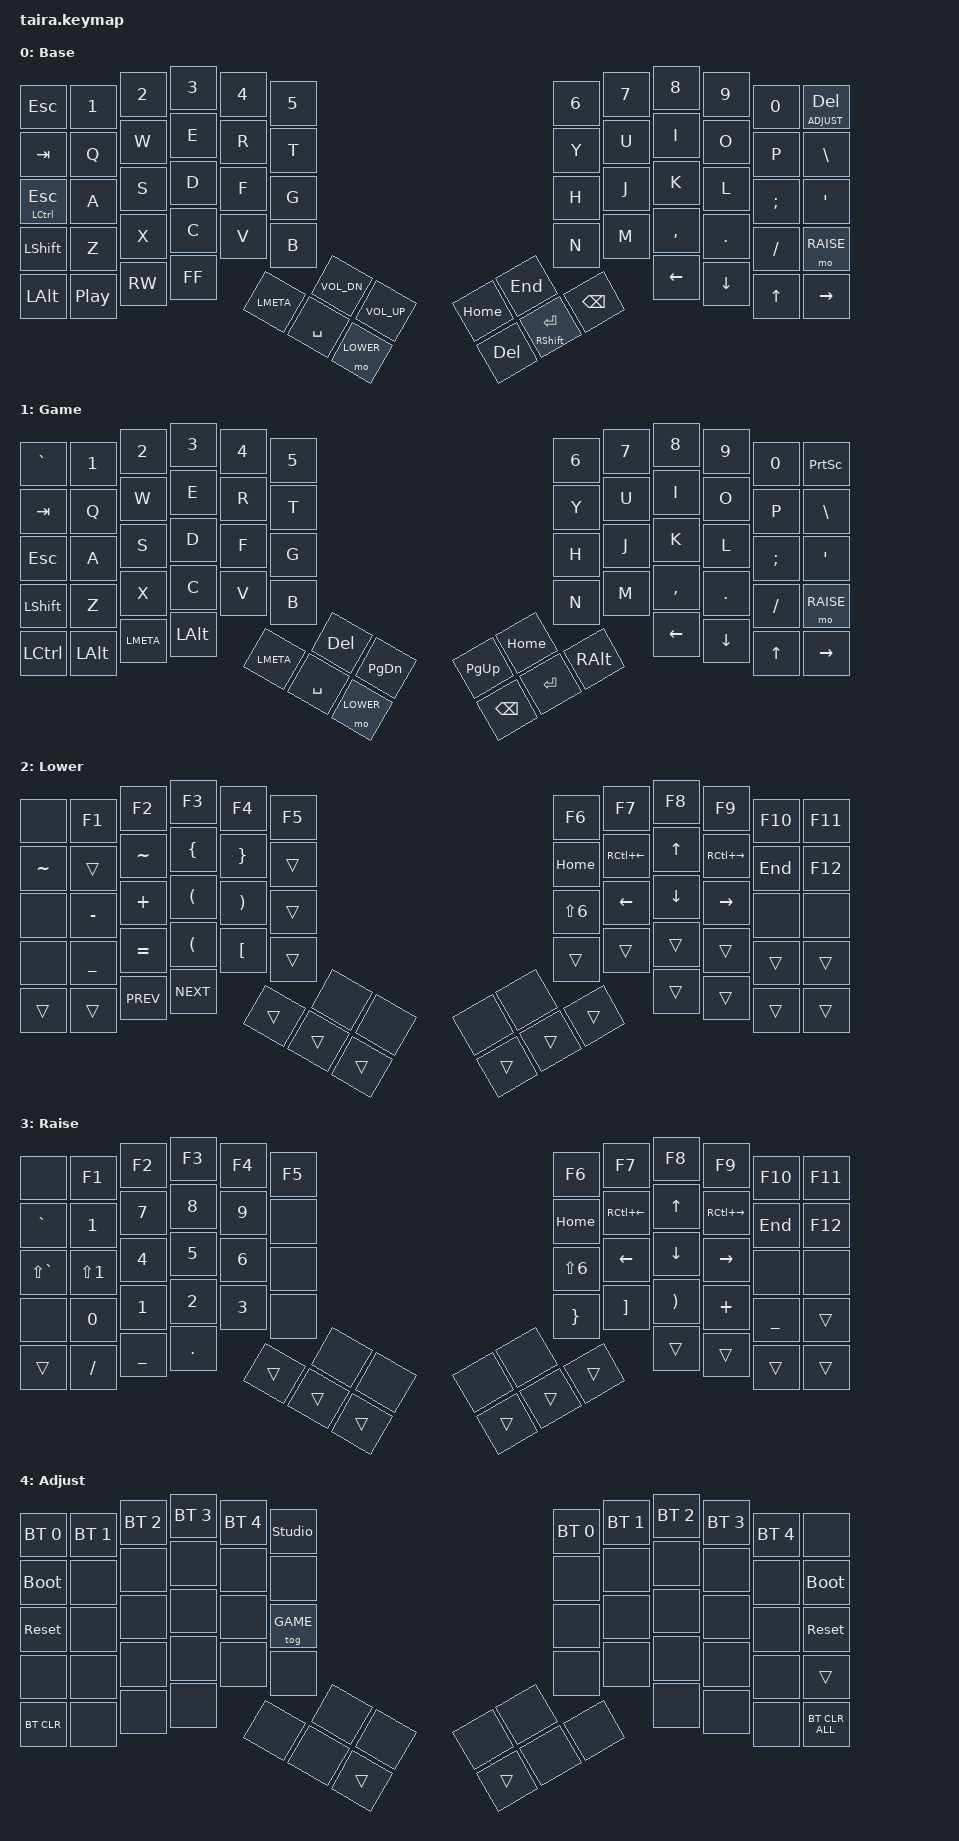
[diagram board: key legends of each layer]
/*
 * Copyright (c) 2020 The ZMK Contributors
 * Austin's Build
 * SPDX-License-Identifier: MIT
 */

#include <behaviors.dtsi>
#include <dt-bindings/zmk/keys.h>
#include <dt-bindings/zmk/outputs.h>
#include <dt-bindings/zmk/bt.h>

// GAME sits directly above DEFAULT so LOWER/RAISE/ADJUST stay reachable
// (and GAME can be toggled off again) while it is active.
#define DEFAULT 0
#define GAME    1
#define LOWER   2
#define RAISE   3
#define ADJUST  4

/ {

        conditional_layers {
                compatible = "zmk,conditional-layers";

                tri_layer {
                        if-layers  = <LOWER RAISE>;
                        then-layer = <ADJUST>;
                };
        };

        keymap {
                compatible = "zmk,keymap";

                default_layer {
                        display-name = "Base";
/* QWERTY
 * .-------------------------------------------------------------------------------------------------------------------------------------.
 * | Esc  |  1   |  2   |  3   |  4   |  5   |                                                  |  6   |  7   |  8   |  9   |  0   |Del/Adj|
 * |------+------+------+------+------+------|                                                  |------+------+------+------+------+-------|
 * | Tab  |  Q   |  W   |  E   |  R   |  T   |                                                  |  Y   |  U   |  I   |  O   |  P   |  \    |
 * |------+------+------+------+------+------|                                                  |------+------+------+------+------+-------|
 * |Ctl/Es|  A   |  S   |  D   |  F   |  G   |                                                  |  H   |  J   |  K   |  L   |  ;   |  '    |
 * |------+------+------+------+------+------+------+------.                  .------+------+------+------+------+------+------+-------|
 * | Shift|  Z   |  X   |  C   |  V   |  B   |      | Vol- | Vol+ |  | Home | End  |      |  N   |  M   |  ,   |  .   |  /   | Raise |
 * |------+------+------+------+------+------+------+------+------|  |------+------+------+------+------+------+------+------+-------|
 * | Alt  | Play | Rwnd | FFwd |             | Meta |Space |Lower |  | Del  |Sft/En| Bspc |             | Left | Down |  Up  | Right |
 * '-------------------------------------------------------------------------------------------------------------------------------------'
 */
                        bindings = <
&kp  ESC       &kp  N1   &kp  N2   &kp  N3   &kp  N4  &kp  N5                                                                   &kp  N6  &kp  N7    &kp  N8     &kp  N9    &kp  N0     &lt  ADJUST DEL
&kp  TAB       &kp  Q    &kp  W    &kp  E    &kp  R   &kp  T                                                                    &kp  Y   &kp  U     &kp  I      &kp  O     &kp  P      &kp  BSLH
&mt  LCTRL ESC &kp  A    &kp  S    &kp  D    &kp  F   &kp  G                                                                    &kp  H   &kp  J     &kp  K      &kp  L     &kp  SEMI   &kp  SQT
&kp  LSHFT     &kp  Z    &kp  X    &kp  C    &kp  V   &kp  B    &kp C_VOL_DN  &kp C_VOL_UP              &kp HOME  &kp END       &kp  N   &kp  M     &kp  COMMA  &kp  DOT   &kp  SLASH  &mo  RAISE
&kp  LALT      &kp C_PP  &kp C_RW  &kp C_FF      &kp LMETA &kp SPACE &mo  LOWER          &kp DEL   &mt RSHIFT ENTER  &kp BSPC                     &kp  LEFT   &kp  DOWN  &kp  UP     &kp  RIGHT
                        >;
                };

                game_layer {
                        display-name = "Game";
/* GAME (toggled from ADJUST)
 * .-------------------------------------------------------------------------------------------------------------------------------------.
 * |  `   |  1   |  2   |  3   |  4   |  5   |                                                  |  6   |  7   |  8   |  9   |  0   | PScr  |
 * |------+------+------+------+------+------|                                                  |------+------+------+------+------+-------|
 * | Tab  |  Q   |  W   |  E   |  R   |  T   |                                                  |  Y   |  U   |  I   |  O   |  P   |  \    |
 * |------+------+------+------+------+------|                                                  |------+------+------+------+------+-------|
 * | Esc  |  A   |  S   |  D   |  F   |  G   |                                                  |  H   |  J   |  K   |  L   |  ;   |  '    |
 * |------+------+------+------+------+------+------+------.                  .------+------+------+------+------+------+------+-------|
 * | Shift|  Z   |  X   |  C   |  V   |  B   |      | Del  | PgDn |  | PgUp | Home |      |  N   |  M   |  ,   |  .   |  /   | Raise |
 * |------+------+------+------+------+------+------+------+------|  |------+------+------+------+------+------+------+------+-------|
 * | Ctrl | Alt  | Meta | Alt  |             | Meta |Space |Lower |  | Bspc |Enter | RAlt |             | Left | Down |  Up  | Right |
 * '-------------------------------------------------------------------------------------------------------------------------------------'
 */
                        bindings = <
&kp  GRAVE    &kp  N1    &kp  N2     &kp  N3     &kp  N4    &kp  N5                                                                        &kp  N6  &kp  N7    &kp  N8     &kp  N9    &kp  N0       &kp  PSCRN
&kp  TAB      &kp  Q     &kp  W      &kp  E      &kp  R     &kp  T                                                                         &kp  Y   &kp  U     &kp  I      &kp  O     &kp  P        &kp  BSLH
&kp  ESC      &kp  A     &kp  S      &kp  D      &kp  F     &kp  G                                                                         &kp  H   &kp  J     &kp  K      &kp  L     &kp  SEMI     &kp  SQT
&kp  LSHFT    &kp  Z     &kp  X      &kp  C      &kp  V     &kp  B             &kp  DEL    &kp  PG_DN    &kp  PG_UP  &kp  HOME             &kp  N   &kp  M     &kp  COMMA  &kp  DOT   &kp  SLASH    &mo  RAISE
&kp  LCTRL    &kp LALT   &kp  LMETA  &kp  LALT                       &kp LMETA &kp  SPACE  &mo  LOWER    &kp  BSPC   &kp  ENTER &kp RALT                       &kp  LEFT   &kp  DOWN  &kp  UP       &kp  RIGHT
                        >;
                };

                lower_layer {
                        display-name = "Lower";
/* LOWER
 * .-------------------------------------------------------------------------------------------------------------------------------------.
 * |      |  F1  |  F2  |  F3  |  F4  |  F5  |                                                  |  F6  |  F7  |  F8  |  F9  | F10  | F11   |
 * |------+------+------+------+------+------|                                                  |------+------+------+------+------+-------|
 * |  ~   |      |  ~   |  {   |  }   |      |                                                  | Home |Wd Lft|  Up  |Wd Rgt| End  | F12   |
 * |------+------+------+------+------+------|                                                  |------+------+------+------+------+-------|
 * |      |  -   |  +   |  (   |  )   |      |                                                  |  ^   | Left | Down |Right |      |       |
 * |------+------+------+------+------+------+------+------.                  .------+------+------+------+------+------+------+-------|
 * |      |  _   |  =   |  (   |  [   |      |      |      |      |  |      |      |      |      |      |      |      |      |       |
 * |------+------+------+------+------+------+------+------+------|  |------+------+------+------+------+------+------+------+-------|
 * |      |      | Prev | Next |             |      |      |      |  |      |      |      |             |      |      |      |       |
 * '-------------------------------------------------------------------------------------------------------------------------------------'
 */
                        bindings = <
&none          &kp  F1      &kp  F2      &kp  F3     &kp  F4     &kp  F5                                                                        &kp  F6    &kp  F7       &kp  F8  &kp  F9        &kp  F10   &kp  F11
&kp  TILDE     &trans       &kp  TILDE   &kp  LBRC   &kp  RBRC   &trans                                                                         &kp  HOME  &kp  RC(LEFT) &kp UP   &kp  RC(RIGHT) &kp END    &kp  F12
&none          &kp MINUS    &kp  PLUS    &kp  LPAR   &kp  RPAR   &trans                                                                         &kp LS(N6) &kp  LEFT     &kp DOWN &kp  RIGHT     &none      &none
&none          &kp UNDER    &kp  EQUAL   &kp  LPAR   &kp  LBKT   &trans             &none       &none         &none       &none                 &trans     &trans        &trans   &trans         &trans     &trans
&trans         &trans       &kp C_PREV   &kp  C_NEXT                      &trans    &trans      &trans        &trans      &trans    &trans                            &trans      &trans         &trans     &trans
                        >;
                };

                raise_layer {
                        display-name = "Raise";
/* RAISE
 * .-------------------------------------------------------------------------------------------------------------------------------------.
 * |      |  F1  |  F2  |  F3  |  F4  |  F5  |                                                  |  F6  |  F7  |  F8  |  F9  | F10  | F11   |
 * |------+------+------+------+------+------|                                                  |------+------+------+------+------+-------|
 * |  `   |  1   |  7   |  8   |  9   |      |                                                  | Home |Wd Lft|  Up  |Wd Rgt| End  | F12   |
 * |------+------+------+------+------+------|                                                  |------+------+------+------+------+-------|
 * |  ~   |  !   |  4   |  5   |  6   |      |                                                  |  ^   | Left | Down |Right |      |       |
 * |------+------+------+------+------+------+------+------.                  .------+------+------+------+------+------+------+-------|
 * |      |  0   |  1   |  2   |  3   |      |      |      |      |  |      |      |      |  }   |  ]   |  )   |  +   |  _   |       |
 * |------+------+------+------+------+------+------+------+------|  |------+------+------+------+------+------+------+------+-------|
 * |      |  /   |  _   |  .   |             |      |      |      |  |      |      |      |             |      |      |      |       |
 * '-------------------------------------------------------------------------------------------------------------------------------------'
 */
                        bindings = <
&none          &kp  F1      &kp  F2      &kp  F3     &kp  F4     &kp  F5                                                                        &kp  F6    &kp  F7       &kp  F8     &kp  F9        &kp  F10      &kp  F11
&kp  GRAVE     &kp  N1      &kp  N7      &kp  N8     &kp  N9     &none                                                                          &kp  HOME  &kp  RC(LEFT) &kp  UP     &kp  RC(RIGHT) &kp  END      &kp  F12
&kp  LS(GRAVE) &kp LS(N1)   &kp  N4      &kp  N5     &kp  N6     &none                                                                          &kp LS(N6) &kp  LEFT     &kp  DOWN   &kp  RIGHT     &none         &none
&none          &kp N0       &kp  N1      &kp  N2     &kp  N3     &none              &none       &none         &none       &none                 &kp RBRC   &kp  RBKT     &kp RPAR    &kp PLUS       &kp  UNDER    &trans
&trans         &kp SLASH    &kp  UNDER   &kp  DOT                         &trans    &trans      &trans        &trans      &trans    &trans                            &trans      &trans     &trans        &trans
                        >;
                };

                adjust_layer {
                        display-name = "Adjust";
/* ADJUST (Lower + Raise, or hold Del/Adj)
 * .-------------------------------------------------------------------------------------------------------------------------------------.
 * | BT0  | BT1  | BT2  | BT3  | BT4  |Studio|                                                  | BT0  | BT1  | BT2  | BT3  | BT4  |       |
 * |------+------+------+------+------+------|                                                  |------+------+------+------+------+-------|
 * | Boot |      |      |      |      |      |                                                  |      |      |      |      |      | Boot  |
 * |------+------+------+------+------+------|                                                  |------+------+------+------+------+-------|
 * |Reset |      |      |      |      | Game |                                                  |      |      |      |      |      | Reset |
 * |------+------+------+------+------+------+------+------.                  .------+------+------+------+------+------+------+-------|
 * |      |      |      |      |      |      |      |      |      |  |      |      |      |      |      |      |      |      |       |
 * |------+------+------+------+------+------+------+------+------|  |------+------+------+------+------+------+------+------+-------|
 * |BT Clr|      |      |      |             |      |      |      |  |      |      |      |             |      |      |      |BTClrAl|
 * '-------------------------------------------------------------------------------------------------------------------------------------'
 * Boot/Reset act on the half they are pressed on, so each half has its own pair.
 * Studio unlocks the keyboard so ZMK Studio can change the keymap.
 */
                        bindings = <
&bt BT_SEL 0 &bt BT_SEL 1 &bt BT_SEL 2 &bt BT_SEL 3 &bt BT_SEL 4 &studio_unlock                                                                        &bt BT_SEL 0 &bt BT_SEL 1 &bt BT_SEL 2 &bt BT_SEL 3 &bt BT_SEL 4 &none
&bootloader  &none        &none        &none        &none        &none                                                                                 &none        &none        &none        &none        &none        &bootloader
&sys_reset   &none        &none        &none        &none        &tog GAME                                                                             &none        &none        &none        &none        &none        &sys_reset
&none        &none        &none        &none        &none        &none                     &none       &none         &none       &none                 &none        &none        &none        &none        &none        &trans
&bt BT_CLR   &none        &none        &none                                     &none     &none       &trans        &trans      &none     &none                                 &none        &none        &none        &bt BT_CLR_ALL
                        >;
                };

                // Spare layers that only exist in ZMK Studio builds, for adding layers from Studio.
                extra1 {
                        status = "reserved";
                };

                extra2 {
                        status = "reserved";
                };
        };
};
